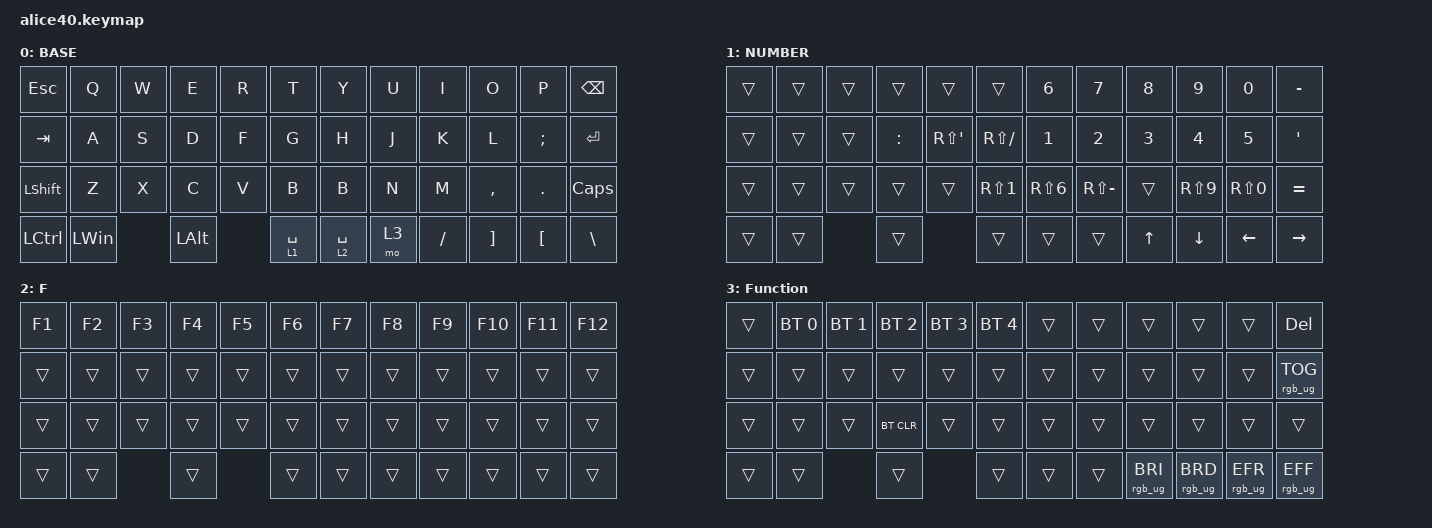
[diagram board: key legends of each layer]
#include <behaviors.dtsi>
#include <dt-bindings/zmk/bt.h>
#include <dt-bindings/zmk/keys.h>
#include <dt-bindings/zmk/rgb.h>

/ {
    keymap {
        compatible = "zmk,keymap";

        Base_layer {
            label = "BASE";
            bindings = <
&kp ESC     &kp Q         &kp W  &kp E         &kp R  &kp T        &kp Y        &kp U  &kp I      &kp O              &kp P             &kp BACKSPACE
&kp TAB     &kp A         &kp S  &kp D         &kp F  &kp G        &kp H        &kp J  &kp K      &kp L              &kp SEMICOLON     &kp ENTER
&kp LSHIFT  &kp Z         &kp X  &kp C         &kp V  &kp B        &kp B        &kp N  &kp M      &kp COMMA          &kp DOT           &kp CAPSLOCK
&kp LCTRL   &kp LEFT_WIN         &kp LEFT_ALT         &lt 1 SPACE  &lt 2 SPACE  &mo 3  &kp SLASH  &kp RIGHT_BRACKET  &kp LEFT_BRACKET  &kp BACKSLASH
            >;
        };

        Number_layer {
            bindings = <
&trans  &trans  &trans  &trans     &trans       &trans            &kp NUMBER_6      &kp NUMBER_7   &kp NUMBER_8  &kp NUMBER_9      &kp NUMBER_0      &kp MINUS
&trans  &trans  &trans  &kp COLON  &kp RS(SQT)  &kp RS(SLASH)     &kp NUMBER_1      &kp NUMBER_2   &kp NUMBER_3  &kp NUMBER_4      &kp NUMBER_5      &kp SQT
&trans  &trans  &trans  &trans     &trans       &kp RS(NUMBER_1)  &kp RS(NUMBER_6)  &kp RS(MINUS)  &trans        &kp RS(NUMBER_9)  &kp RS(NUMBER_0)  &kp EQUAL
&trans  &trans          &trans                  &trans            &trans            &trans         &kp UP        &kp DOWN          &kp LEFT          &kp RIGHT_ARROW
            >;

            label = "NUMBER";
        };

        F_layer {
            bindings = <
&kp F1  &kp F2  &kp F3  &kp F4  &kp F5  &kp F6  &kp F7  &kp F8  &kp F9  &kp F10  &kp F11  &kp F12
&trans  &trans  &trans  &trans  &trans  &trans  &trans  &trans  &trans  &trans   &trans   &trans
&trans  &trans  &trans  &trans  &trans  &trans  &trans  &trans  &trans  &trans   &trans   &trans
&trans  &trans          &trans          &trans  &trans  &trans  &trans  &trans   &trans   &trans
            >;

            label = "F";
        };

        Function_layer {
            bindings = <
&trans  &bt BT_SEL 0  &bt BT_SEL 1  &bt BT_SEL 2  &bt BT_SEL 3  &bt BT_SEL 4  &trans  &trans  &trans           &trans           &trans           &kp DEL
&trans  &trans        &trans        &trans        &trans        &trans        &trans  &trans  &trans           &trans           &trans           &rgb_ug RGB_TOG
&trans  &trans        &trans        &bt BT_CLR    &trans        &trans        &trans  &trans  &trans           &trans           &trans           &trans
&trans  &trans                      &trans                      &trans        &trans  &trans  &rgb_ug RGB_BRI  &rgb_ug RGB_BRD  &rgb_ug RGB_EFR  &rgb_ug RGB_EFF
            >;

            label = "Function";
        };
    };
};
